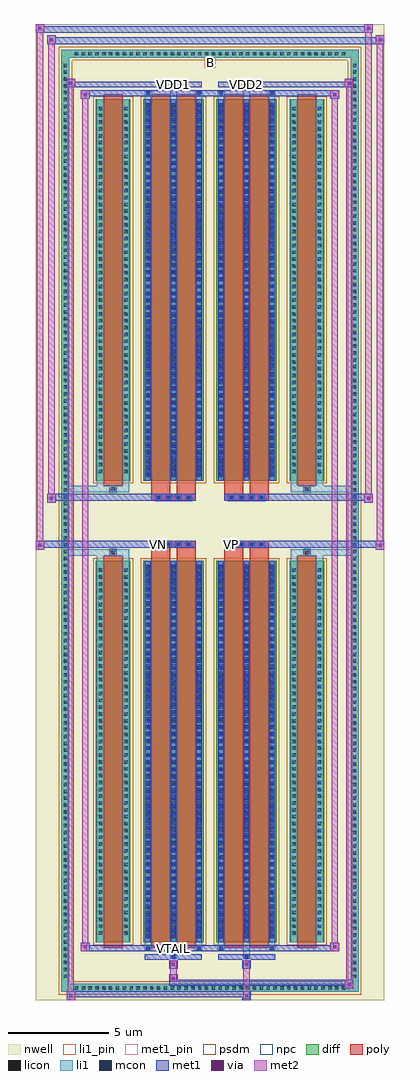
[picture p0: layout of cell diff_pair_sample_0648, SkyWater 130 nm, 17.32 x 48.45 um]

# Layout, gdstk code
import gdstk
lib = gdstk.Library(unit=1e-6, precision=5e-09)
def R(c, l, rs):  # rectangles x0, y0, x1, y1
    for r in rs: c.add(gdstk.rectangle(r[:2], r[2:], *l))
def A(c, l, x, y, w, h, nx, ny, dx, dy):  # array of equal rectangles
    R(c, l, [(x+i*dx, y+j*dy, x+i*dx+w, y+j*dy+h) for i in range(nx) for j in range(ny)])
def P(c, l, *ps):  # polygons
    for p in ps: c.add(gdstk.Polygon(p, *l))
nwell = (64, 20)
diff = (65, 20)
poly = (66, 20)
licon = (66, 44)
li1_pin = (67, 16)
li1 = (67, 20)
mcon = (67, 44)
met1_pin = (68, 16)
met1 = (68, 20)
via = (68, 44)
met2 = (69, 20)
psdm = (94, 20)
npc = (95, 20)

diff_pair_sample_0648 = lib.new_cell('diff_pair_sample_0648')
R(diff_pair_sample_0648, nwell, [(-8.66,-23.79,8.66,24.66), (-5.98,-21.98,-0.01,-0.8), (0.01,-21.98,5.98,-0.8), (-5.98,0.8,-0.01,21.98), (0.01,0.8,5.98,21.98)])
A(diff_pair_sample_0648, diff, -6.835, -23.39, 0.41, 0.41, 40, 2, 0.34, 46.37)
A(diff_pair_sample_0648, diff, -7.39, -22.815, 0.41, 0.41, 1, 134, 0, 0.34)
A(diff_pair_sample_0648, diff, 6.98, -22.815, 0.41, 0.41, 1, 134, 0, 0.34)
R(diff_pair_sample_0648, diff, [(-6.835,-23.39,6.835,-22.98), (-7.39,-22.815,-6.98,22.815), (6.98,-22.815,7.39,22.815), (-5.67,-20.935,-3.95,-1.985), (-3.31,-20.935,-0.32,-1.985), (0.32,-20.935,3.31,-1.985), (3.95,-20.935,5.67,-1.985), (-5.67,1.985,-3.95,20.935), (-3.31,1.985,-0.32,20.935), (0.32,1.985,3.31,20.935), (3.95,1.985,5.67,20.935), (-6.835,22.98,6.835,23.39)])
P(diff_pair_sample_0648, diff, [(7.39,23.39),(-7.39,23.39),(-7.39,-22.98),(-6.98,-22.98),(-6.98,22.98),(6.98,22.98),(6.98,-22.98),(-6.98,-22.98),(-7.39,-22.98),(-7.39,-23.39),(7.39,-23.39)])
A(diff_pair_sample_0648, poly, -2.73, -1.33, 0.33, 0.33, 4, 2, 0.5, 2.33)
A(diff_pair_sample_0648, poly, 0.9, -1.33, 0.33, 0.33, 4, 2, 0.5, 2.33)
R(diff_pair_sample_0648, poly, [(-5.28,-21.185,-4.34,-1.735), (-2.92,-21.185,-1.98,-1.735), (-1.65,-21.185,-0.71,-1.735), (0.71,-21.185,1.65,-1.735), (1.98,-21.185,2.92,-1.735), (4.34,-21.185,5.28,-1.735), (-4.975,-1.735,-4.645,-1.405), (-4.975,-1.735,-4.645,-1.405), (-2.92,-1.735,-1.98,-1.33), (-1.65,-1.735,-0.71,-1.33), (0.71,-1.735,1.65,-1.33), (1.98,-1.735,2.92,-1.33), (4.645,-1.735,4.975,-1.405), (4.645,-1.735,4.975,-1.405), (-2.92,-1.33,-0.71,-1), (0.71,-1.33,2.92,-1), (-2.92,1,-0.71,1.33), (0.71,1,2.92,1.33), (-2.92,1.33,-1.98,1.735), (-1.65,1.33,-0.71,1.735), (0.71,1.33,1.65,1.735), (1.98,1.33,2.92,1.735), (-4.975,1.405,-4.645,1.735), (-4.975,1.405,-4.645,1.735), (4.645,1.405,4.975,1.735), (4.645,1.405,4.975,1.735), (-5.28,1.735,-4.34,21.185), (-2.92,1.735,-1.98,21.185), (-1.65,1.735,-0.71,21.185), (0.71,1.735,1.65,21.185), (1.98,1.735,2.92,21.185), (4.34,1.735,5.28,21.185)])
A(diff_pair_sample_0648, licon, -6.715, -23.27, 0.17, 0.17, 40, 2, 0.34, 46.37)
A(diff_pair_sample_0648, licon, -7.27, -22.695, 0.17, 0.17, 1, 134, 0, 0.34)
A(diff_pair_sample_0648, licon, 7.1, -22.695, 0.17, 0.17, 1, 134, 0, 0.34)
A(diff_pair_sample_0648, licon, -5.53, -20.555, 0.17, 0.17, 1, 54, 0, 0.34)
A(diff_pair_sample_0648, licon, -4.26, -20.555, 0.17, 0.17, 1, 54, 0, 0.34)
A(diff_pair_sample_0648, licon, -3.17, -20.555, 0.17, 0.17, 3, 54, 1.27, 0.34)
A(diff_pair_sample_0648, licon, 0.46, -20.555, 0.17, 0.17, 3, 54, 1.27, 0.34)
A(diff_pair_sample_0648, licon, 4.09, -20.555, 0.17, 0.17, 1, 54, 0, 0.34)
A(diff_pair_sample_0648, licon, 5.36, -20.555, 0.17, 0.17, 1, 54, 0, 0.34)
A(diff_pair_sample_0648, licon, -2.65, -1.25, 0.17, 0.17, 4, 2, 0.5, 2.33)
A(diff_pair_sample_0648, licon, 0.98, -1.25, 0.17, 0.17, 4, 2, 0.5, 2.33)
A(diff_pair_sample_0648, licon, -5.53, 2.365, 0.17, 0.17, 1, 54, 0, 0.34)
A(diff_pair_sample_0648, licon, -4.26, 2.365, 0.17, 0.17, 1, 54, 0, 0.34)
A(diff_pair_sample_0648, licon, -3.17, 2.365, 0.17, 0.17, 3, 54, 1.27, 0.34)
A(diff_pair_sample_0648, licon, 0.46, 2.365, 0.17, 0.17, 3, 54, 1.27, 0.34)
A(diff_pair_sample_0648, licon, 4.09, 2.365, 0.17, 0.17, 1, 54, 0, 0.34)
A(diff_pair_sample_0648, licon, 5.36, 2.365, 0.17, 0.17, 1, 54, 0, 0.34)
R(diff_pair_sample_0648, licon, [(-4.895,-1.655,-4.725,-1.485), (4.725,-1.655,4.895,-1.485), (-4.895,1.485,-4.725,1.655), (4.725,1.485,4.895,1.655)])
R(diff_pair_sample_0648, li1_pin, [(-0.25,22.48,0.25,22.98)])
A(diff_pair_sample_0648, li1, -6.795, -23.35, 0.33, 0.33, 40, 2, 0.34, 46.37)
A(diff_pair_sample_0648, li1, -7.35, -22.775, 0.33, 0.33, 1, 134, 0, 0.34)
A(diff_pair_sample_0648, li1, 7.02, -22.775, 0.33, 0.33, 1, 134, 0, 0.34)
A(diff_pair_sample_0648, li1, -3.25, -20.935, 0.33, 18.95, 3, 2, 1.27, 22.92)
A(diff_pair_sample_0648, li1, 0.38, -20.935, 0.33, 18.95, 3, 2, 1.27, 22.92)
A(diff_pair_sample_0648, li1, -3.17, -20.725, 0.17, 0.17, 3, 52, 1.27, 0.36)
A(diff_pair_sample_0648, li1, -3.17, -20.725, 0.17, 18.53, 3, 2, 1.27, 22.92)
A(diff_pair_sample_0648, li1, 0.46, -20.725, 0.17, 0.17, 3, 52, 1.27, 0.36)
A(diff_pair_sample_0648, li1, 0.46, -20.725, 0.17, 18.53, 3, 2, 1.27, 22.92)
A(diff_pair_sample_0648, li1, -5.61, -20.635, 0.33, 0.33, 1, 54, 0, 0.34)
A(diff_pair_sample_0648, li1, -4.34, -20.635, 0.33, 0.33, 1, 54, 0, 0.34)
A(diff_pair_sample_0648, li1, -3.25, -20.635, 0.33, 0.33, 3, 54, 1.27, 0.34)
A(diff_pair_sample_0648, li1, 0.38, -20.635, 0.33, 0.33, 3, 54, 1.27, 0.34)
A(diff_pair_sample_0648, li1, 4.01, -20.635, 0.33, 0.33, 1, 54, 0, 0.34)
A(diff_pair_sample_0648, li1, 5.28, -20.635, 0.33, 0.33, 1, 54, 0, 0.34)
A(diff_pair_sample_0648, li1, -2.73, -1.33, 0.33, 0.33, 4, 2, 0.5, 2.33)
A(diff_pair_sample_0648, li1, 0.9, -1.33, 0.33, 0.33, 4, 2, 0.5, 2.33)
A(diff_pair_sample_0648, li1, -3.17, 2.195, 0.17, 0.17, 3, 52, 1.27, 0.36)
A(diff_pair_sample_0648, li1, 0.46, 2.195, 0.17, 0.17, 3, 52, 1.27, 0.36)
A(diff_pair_sample_0648, li1, -5.61, 2.285, 0.33, 0.33, 1, 54, 0, 0.34)
A(diff_pair_sample_0648, li1, -4.34, 2.285, 0.33, 0.33, 1, 54, 0, 0.34)
A(diff_pair_sample_0648, li1, -3.25, 2.285, 0.33, 0.33, 3, 54, 1.27, 0.34)
A(diff_pair_sample_0648, li1, 0.38, 2.285, 0.33, 0.33, 3, 54, 1.27, 0.34)
A(diff_pair_sample_0648, li1, 4.01, 2.285, 0.33, 0.33, 1, 54, 0, 0.34)
A(diff_pair_sample_0648, li1, 5.28, 2.285, 0.33, 0.33, 1, 54, 0, 0.34)
R(diff_pair_sample_0648, li1, [(-7.39,-23.39,-6.98,-22.98), (-7.39,-23.39,-6.98,-22.98), (-6.98,-23.39,6.98,-22.98), (6.98,-23.39,7.39,-22.98), (6.98,-23.39,7.39,-22.98), (-7.39,-22.98,-6.98,22.98), (6.98,-22.98,7.39,22.98), (-1.98,-21.74,-1.65,-20.935), (-1.9,-21.74,-1.73,-21.57), (1.65,-21.74,1.98,-20.935), (1.73,-21.74,1.9,-21.57), (-3.25,-21.31,-2.92,-20.935), (-3.17,-21.31,-3,-21.14), (-0.71,-21.31,-0.38,-20.935), (-0.63,-21.31,-0.46,-21.14), (0.38,-21.31,0.71,-20.935), (0.46,-21.31,0.63,-21.14), (2.92,-21.31,3.25,-20.935), (3,-21.31,3.17,-21.14), (-5.61,-20.935,-5.28,-1.985), (-4.34,-20.935,-4.01,-1.985), (4.01,-20.935,4.34,-1.985), (5.28,-20.935,5.61,-1.985), (-5.61,-1.985,-5.28,-1.405), (-4.34,-1.985,-4.01,-1.405), (4.01,-1.985,4.34,-1.405), (5.28,-1.985,5.61,-1.405), (-7.39,-1.735,-4.975,-1.405), (-5.61,-1.735,-4.975,-1.405), (-4.975,-1.735,-4.645,-1.405), (-4.645,-1.735,-4.01,-1.405), (4.01,-1.735,4.645,-1.405), (4.645,-1.735,4.975,-1.405), (4.645,-1.735,7.39,-1.405), (4.975,-1.735,5.61,-1.405), (-7.39,1.405,-4.975,1.735), (-5.61,1.405,-4.975,1.735), (-5.61,1.405,-5.28,1.985), (-4.975,1.405,-4.645,1.735), (-4.645,1.405,-4.01,1.735), (-4.34,1.405,-4.01,1.985), (4.01,1.405,4.645,1.735), (4.01,1.405,4.34,1.985), (4.645,1.405,4.975,1.735), (4.645,1.405,7.39,1.735), (4.975,1.405,5.61,1.735), (5.28,1.405,5.61,1.985), (-5.61,1.985,-5.28,20.935), (-4.34,1.985,-4.01,20.935), (4.01,1.985,4.34,20.935), (5.28,1.985,5.61,20.935), (-3.25,20.935,-2.92,21.31), (-1.98,20.935,-1.65,21.74), (-0.71,20.935,-0.38,21.31), (0.38,20.935,0.71,21.31), (1.65,20.935,1.98,21.74), (2.92,20.935,3.25,21.31), (-3.17,21.14,-3,21.31), (-0.63,21.14,-0.46,21.31), (0.46,21.14,0.63,21.31), (3,21.14,3.17,21.31), (-1.9,21.57,-1.73,21.74), (1.73,21.57,1.9,21.74), (-7.39,22.98,-6.98,23.39), (-7.39,22.98,-6.98,23.39), (-6.98,22.98,6.98,23.39), (6.98,22.98,7.39,23.39), (6.98,22.98,7.39,23.39)])
A(diff_pair_sample_0648, mcon, -3.17, -20.725, 0.17, 0.17, 3, 52, 1.27, 0.36)
A(diff_pair_sample_0648, mcon, 0.46, -20.725, 0.17, 0.17, 3, 52, 1.27, 0.36)
A(diff_pair_sample_0648, mcon, -2.65, -1.25, 0.17, 0.17, 4, 2, 0.5, 2.33)
A(diff_pair_sample_0648, mcon, 0.98, -1.25, 0.17, 0.17, 4, 2, 0.5, 2.33)
A(diff_pair_sample_0648, mcon, -3.17, 2.195, 0.17, 0.17, 3, 52, 1.27, 0.36)
A(diff_pair_sample_0648, mcon, 0.46, 2.195, 0.17, 0.17, 3, 52, 1.27, 0.36)
R(diff_pair_sample_0648, mcon, [(-1.9,-21.74,-1.73,-21.57), (1.73,-21.74,1.9,-21.57), (-3.17,-21.31,-3,-21.14), (-0.63,-21.31,-0.46,-21.14), (0.46,-21.31,0.63,-21.14), (3,-21.31,3.17,-21.14), (-3.17,21.14,-3,21.31), (-0.63,21.14,-0.46,21.31), (0.46,21.14,0.63,21.31), (3,21.14,3.17,21.31), (-1.9,21.57,-1.73,21.74), (1.73,21.57,1.9,21.74)])
R(diff_pair_sample_0648, met1_pin, [(-1.95,-21.35,-1.68,-21.08), (-2.7,-1.29,-2.43,-1.02), (0.93,-1.29,1.2,-1.02), (-1.95,21.53,-1.68,21.8), (1.68,21.53,1.95,21.8)])
A(diff_pair_sample_0648, met1, -3.23, -20.935, 0.29, 18.95, 3, 2, 1.27, 22.92)
A(diff_pair_sample_0648, met1, 0.4, -20.935, 0.29, 18.95, 3, 2, 1.27, 22.92)
A(diff_pair_sample_0648, met1, -3.23, -20.785, 0.29, 0.29, 3, 52, 1.27, 0.36)
A(diff_pair_sample_0648, met1, 0.4, -20.785, 0.29, 0.29, 3, 52, 1.27, 0.36)
A(diff_pair_sample_0648, met1, -2.71, -1.31, 0.29, 0.29, 4, 2, 0.5, 2.33)
A(diff_pair_sample_0648, met1, 0.92, -1.31, 0.29, 0.29, 4, 2, 0.5, 2.33)
A(diff_pair_sample_0648, met1, -3.23, 2.135, 0.29, 0.29, 3, 52, 1.27, 0.36)
A(diff_pair_sample_0648, met1, 0.4, 2.135, 0.29, 0.29, 3, 52, 1.27, 0.36)
R(diff_pair_sample_0648, met1, [(-7.12,-23.79,-6.69,-23.36), (1.6,-23.79,2.03,-23.36), (-7.12,-23.65,2.03,-23.36), (6.69,-23.22,7.12,-22.79), (-2.03,-23.08,7.12,-22.79), (-2.03,-22.94,-1.6,-22.51), (-2.03,-22.23,-1.6,-21.8), (1.6,-22.23,2.03,-21.8), (-3.23,-21.8,-0.4,-21.51), (-1.96,-21.8,-1.67,-21.51), (0.4,-21.8,3.23,-21.51), (1.67,-21.8,1.96,-21.51), (-6.41,-21.37,-5.98,-20.94), (-6.41,-21.37,-3.23,-21.08), (-3.23,-21.37,-2.94,-21.08), (-3.23,-21.37,-0.4,-21.08), (-0.69,-21.37,-0.4,-21.08), (-0.4,-21.37,0.4,-21.08), (0.4,-21.37,0.69,-21.08), (0.4,-21.37,3.23,-21.08), (2.94,-21.37,3.23,-21.08), (3.23,-21.37,6.41,-21.08), (5.98,-21.37,6.41,-20.94), (-8.66,-1.43,-8.23,-1), (8.23,-1.43,8.66,-1), (-8.66,-1.33,-0.71,-1), (-2.92,-1.33,-0.71,-1), (0.71,-1.33,2.92,-1), (0.71,-1.33,8.66,-1), (-8.09,0.9,-7.66,1.33), (7.66,0.9,8.09,1.33), (-8.09,1,-2.92,1.33), (-2.92,1,-0.71,1.33), (0.71,1,2.92,1.33), (2.92,1,8.09,1.33), (-6.41,20.94,-5.98,21.37), (5.98,20.94,6.41,21.37), (-6.41,21.08,-3.23,21.37), (-3.23,21.08,-2.94,21.37), (-3.23,21.08,-0.4,21.37), (-0.69,21.08,-0.4,21.37), (-0.4,21.08,0.4,21.37), (0.4,21.08,0.69,21.37), (0.4,21.08,3.23,21.37), (2.94,21.08,3.23,21.37), (3.23,21.08,6.41,21.37), (-7.12,21.51,-6.69,21.94), (-7.12,21.51,-3.23,21.8), (-3.23,21.51,-0.4,21.8), (-1.96,21.51,-1.67,21.8), (0.4,21.51,3.23,21.8), (1.67,21.51,1.96,21.8), (3.23,21.51,7.12,21.8), (6.69,21.51,7.12,21.94), (-8.09,23.66,-7.66,24.09), (-8.09,23.66,-5.98,23.99), (-5.98,23.66,5.98,23.99), (5.98,23.66,8.66,23.99), (8.23,23.66,8.66,24.09), (-8.66,24.23,-8.23,24.66), (-8.66,24.23,-5.98,24.56), (-5.98,24.23,5.98,24.56), (5.98,24.23,8.09,24.56), (7.66,24.23,8.09,24.66)])
R(diff_pair_sample_0648, via, [(-6.98,-23.65,-6.83,-23.5), (1.74,-23.65,1.89,-23.5), (6.83,-23.08,6.98,-22.93), (-1.89,-22.8,-1.74,-22.65), (-1.89,-22.09,-1.74,-21.94), (1.74,-22.09,1.89,-21.94), (-6.27,-21.23,-6.12,-21.08), (6.12,-21.23,6.27,-21.08), (-8.52,-1.29,-8.37,-1.14), (8.37,-1.29,8.52,-1.14), (-7.95,1.04,-7.8,1.19), (7.8,1.04,7.95,1.19), (-6.27,21.08,-6.12,21.23), (6.12,21.08,6.27,21.23), (-6.98,21.65,-6.83,21.8), (6.83,21.65,6.98,21.8), (-7.95,23.8,-7.8,23.95), (8.37,23.8,8.52,23.95), (-8.52,24.37,-8.37,24.52), (7.8,24.37,7.95,24.52)])
R(diff_pair_sample_0648, met2, [(-7.12,-23.79,-6.69,-23.36), (-7.05,-23.79,-6.76,21.94), (-6.76,-23.79,-6.69,-23.36), (-7.07,-23.74,-6.74,-23.41), (1.65,-23.74,1.98,-23.41), (1.65,-23.41,1.98,-22.18), (6.69,-23.22,7.12,-22.79), (6.76,-23.22,7.05,21.94), (7.05,-23.22,7.12,-22.79), (6.74,-23.17,7.07,-22.84), (-1.98,-22.89,-1.65,-22.56), (-1.98,-22.56,-1.65,-22.18), (-1.98,-22.18,-1.65,-21.85), (1.65,-22.18,1.98,-21.85), (-6.41,-21.37,-5.98,-20.94), (-6.34,-21.37,-6.05,21.37), (-6.05,-21.37,-5.98,-20.94), (5.98,-21.37,6.41,-20.94), (6.05,-21.37,6.34,21.37), (6.34,-21.37,6.41,-20.94), (-6.36,-21.32,-6.03,-20.99), (6.03,-21.32,6.36,-20.99), (-8.66,-1.43,-8.23,-1), (-8.61,-1.43,-8.28,24.66), (-8.28,-1.43,-8.23,-1), (8.23,-1.43,8.66,-1), (8.28,-1.43,8.61,24.09), (8.61,-1.43,8.66,-1), (-8.61,-1.38,-8.28,-1.05), (8.28,-1.38,8.61,-1.05), (-8.09,0.9,-7.66,1.33), (-8.04,0.9,-7.71,24.09), (-7.71,0.9,-7.66,1.33), (7.66,0.9,8.09,1.33), (7.71,0.9,8.04,24.66), (8.04,0.9,8.09,1.33), (-8.04,0.95,-7.71,1.28), (7.71,0.95,8.04,1.28), (-6.41,20.94,-5.98,21.37), (-6.05,20.94,-5.98,21.37), (5.98,20.94,6.41,21.37), (6.34,20.94,6.41,21.37), (-6.36,20.99,-6.03,21.32), (6.03,20.99,6.36,21.32), (-7.12,21.51,-6.69,21.94), (-6.76,21.51,-6.69,21.94), (6.69,21.51,7.12,21.94), (7.05,21.51,7.12,21.94), (-7.07,21.56,-6.74,21.89), (6.74,21.56,7.07,21.89), (-8.09,23.66,-7.66,24.09), (-7.71,23.66,-7.66,24.09), (8.23,23.66,8.66,24.09), (8.61,23.66,8.66,24.09), (-8.04,23.71,-7.71,24.04), (8.28,23.71,8.61,24.04), (-8.66,24.23,-8.23,24.66), (-8.28,24.23,-8.23,24.66), (7.66,24.23,8.09,24.66), (8.04,24.23,8.09,24.66), (-8.61,24.28,-8.28,24.61), (7.71,24.28,8.04,24.61)])
R(diff_pair_sample_0648, psdm, [(-5.8,-21.065,-3.82,-1.855), (-3.44,-21.065,-0.19,-1.855), (0.19,-21.065,3.44,-1.855), (3.82,-21.065,5.8,-1.855), (-5.8,1.855,-3.82,21.065), (-3.44,1.855,-0.19,21.065), (0.19,1.855,3.44,21.065), (3.82,1.855,5.8,21.065)])
P(diff_pair_sample_0648, psdm, [(7.52,23.52),(-7.52,23.52),(-7.52,-22.85),(-6.85,-22.85),(-6.85,22.85),(6.85,22.85),(6.85,-22.85),(-6.85,-22.85),(-7.52,-22.85),(-7.52,-23.52),(7.52,-23.52)])
A(diff_pair_sample_0648, npc, -2.75, -1.35, 0.37, 0.37, 4, 2, 0.5, 2.33)
A(diff_pair_sample_0648, npc, 0.88, -1.35, 0.37, 0.37, 4, 2, 0.5, 2.33)
R(diff_pair_sample_0648, npc, [(-4.995,-1.755,-4.625,-1.385), (4.625,-1.755,4.995,-1.385), (-2.75,-1.35,-1.88,-0.98), (-2.75,-1.35,-1.88,-0.98), (-2.25,-1.35,-1.38,-0.98), (-2.25,-1.35,-1.38,-0.98), (-1.75,-1.35,-0.88,-0.98), (-1.75,-1.35,-0.88,-0.98), (0.88,-1.35,1.75,-0.98), (0.88,-1.35,1.75,-0.98), (1.38,-1.35,2.25,-0.98), (1.38,-1.35,2.25,-0.98), (1.88,-1.35,2.75,-0.98), (1.88,-1.35,2.75,-0.98), (-2.75,0.98,-1.88,1.35), (-2.75,0.98,-1.88,1.35), (-2.25,0.98,-1.38,1.35), (-2.25,0.98,-1.38,1.35), (-1.75,0.98,-0.88,1.35), (-1.75,0.98,-0.88,1.35), (0.88,0.98,1.75,1.35), (0.88,0.98,1.75,1.35), (1.38,0.98,2.25,1.35), (1.38,0.98,2.25,1.35), (1.88,0.98,2.75,1.35), (1.88,0.98,2.75,1.35), (-4.995,1.385,-4.625,1.755), (4.625,1.385,4.995,1.755)])
diff_pair_sample_0648.add(gdstk.Label('VTAIL', (-1.815,-21.215), layer=68, texttype=5))
diff_pair_sample_0648.add(gdstk.Label('VN', (-2.565,-1.155), layer=68, texttype=5))
diff_pair_sample_0648.add(gdstk.Label('VP', (1.065,-1.155), layer=68, texttype=5))
diff_pair_sample_0648.add(gdstk.Label('B', (0,22.73), layer=67, texttype=5))
diff_pair_sample_0648.add(gdstk.Label('VDD2', (1.815,21.665), layer=68, texttype=5))
diff_pair_sample_0648.add(gdstk.Label('VDD1', (-1.815,21.665), layer=68, texttype=5))

lib.write_gds('diff_pair_sample_0648.gds')
